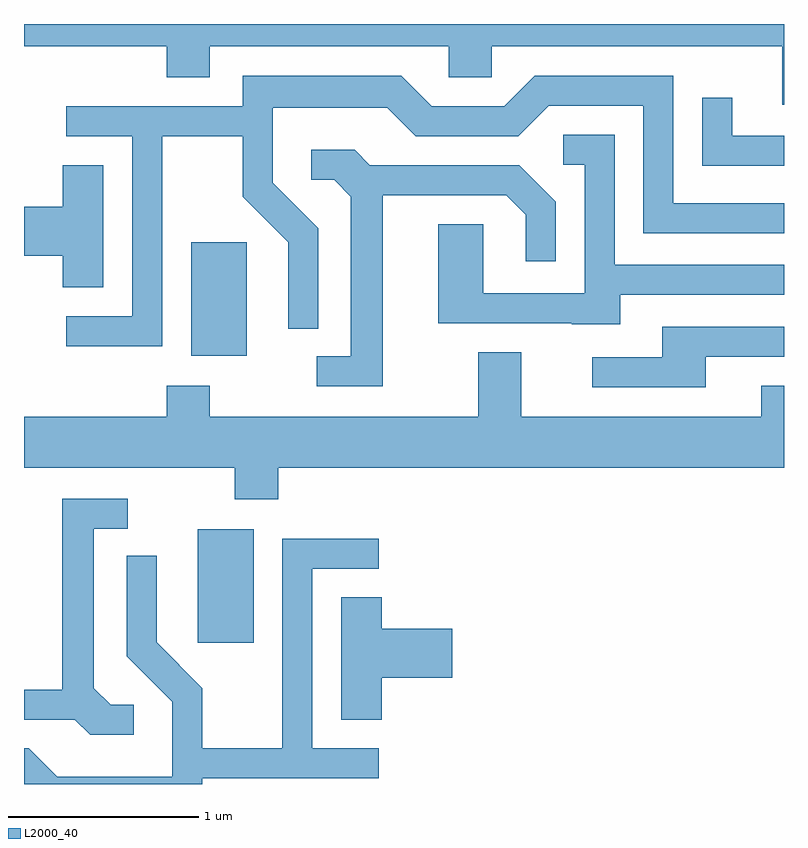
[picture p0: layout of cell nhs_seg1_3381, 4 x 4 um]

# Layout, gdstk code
import gdstk
lib = gdstk.Library(unit=1e-6, precision=1e-09)
def R(c, l, rs):  # rectangles x0, y0, x1, y1
    for r in rs: c.add(gdstk.rectangle(r[:2], r[2:], *l))
def P(c, l, *ps):  # polygons
    for p in ps: c.add(gdstk.Polygon(p, *l))
L2000_40 = (2000, 40)

nhs_seg1_3381 = lib.new_cell('nhs_seg1_3381')
R(nhs_seg1_3381, L2000_40, [(288.526,876.456,288.819,877.054), (288.491,877.966,288.784,878.564)])
P(nhs_seg1_3381, L2000_40, [(291.611,879.712),(287.611,879.712),(287.611,879.596),(288.361,879.596),(288.361,879.431),(288.589,879.431),(288.589,879.596),(289.846,879.596),(289.846,879.431),(290.074,879.431),(290.074,879.596),(291.601,879.596),(291.601,879.286),(291.611,879.286)],
  [(288.339,879.121),(288.761,879.121),(288.761,878.804),(289.001,878.564),(289.001,878.108),(289.159,878.108),(289.159,878.637),(288.919,878.877),(288.919,879.271),(289.524,879.271),(289.674,879.121),(290.212,879.121),(290.372,879.281),(290.871,879.281),(290.871,878.611),(291.611,878.611),(291.611,878.769),(291.029,878.769),(291.029,879.439),(290.299,879.439),(290.139,879.279),(289.757,879.279),(289.597,879.439),(288.761,879.439),(288.761,879.279),(287.833,879.279),(287.833,879.121),(288.181,879.121),(288.181,878.174),(287.833,878.174),(287.833,878.016),(288.339,878.016)],
  [(291.611,879.124),(291.339,879.124),(291.339,879.323),(291.181,879.323),(291.181,878.966),(291.611,878.966)],
  [(290.749,878.286),(291.611,878.286),(291.611,878.444),(290.719,878.444),(290.719,879.129),(290.448,879.129),(290.448,878.971),(290.561,878.971),(290.561,878.294),(290.029,878.294),(290.029,878.659),(289.791,878.659),(289.791,878.136),(290.495,878.136),(290.495,878.131),(290.749,878.131)],
  [(289.499,878.811),(290.149,878.811),(290.251,878.709),(290.251,878.463),(290.409,878.463),(290.409,878.777),(290.217,878.969),(289.432,878.969),(289.352,879.049),(289.123,879.049),(289.123,878.891),(289.244,878.891),(289.331,878.804),(289.331,877.964),(289.153,877.964),(289.153,877.806),(289.499,877.806)],
  [(288.029,878.969),(287.816,878.969),(287.816,878.749),(287.611,878.749),(287.611,878.491),(287.816,878.491),(287.816,878.326),(288.029,878.326)],
  [(291.199,877.961),(291.611,877.961),(291.611,878.119),(290.971,878.119),(290.971,877.959),(290.603,877.959),(290.603,877.801),(291.199,877.801)],
  [(291.611,877.809),(291.491,877.809),(291.491,877.644),(290.229,877.644),(290.229,877.984),(290.001,877.984),(290.001,877.644),(288.589,877.644),(288.589,877.809),(288.361,877.809),(288.361,877.644),(287.611,877.644),(287.611,877.376),(288.721,877.376),(288.721,877.211),(288.949,877.211),(288.949,877.376),(291.611,877.376)],
  [(288.188,876.129),(288.067,876.129),(287.979,876.217),(287.979,877.056),(288.158,877.056),(288.158,877.214),(287.811,877.214),(287.811,876.209),(287.611,876.209),(287.611,876.051),(287.879,876.051),(287.959,875.971),(288.188,875.971)],
  [(288.549,875.741),(289.478,875.741),(289.478,875.899),(289.129,875.899),(289.129,876.846),(289.478,876.846),(289.478,877.004),(288.971,877.004),(288.971,875.899),(288.549,875.899),(288.549,876.217),(288.309,876.457),(288.309,876.913),(288.151,876.913),(288.151,876.384),(288.391,876.144),(288.391,875.749),(287.787,875.749),(287.637,875.899),(287.611,875.899),(287.611,875.712),(288.549,875.712)],
  [(289.494,876.271),(289.864,876.271),(289.864,876.529),(289.494,876.529),(289.494,876.694),(289.281,876.694),(289.281,876.051),(289.494,876.051)])

lib.write_gds('nhs_seg1_3381.gds')
